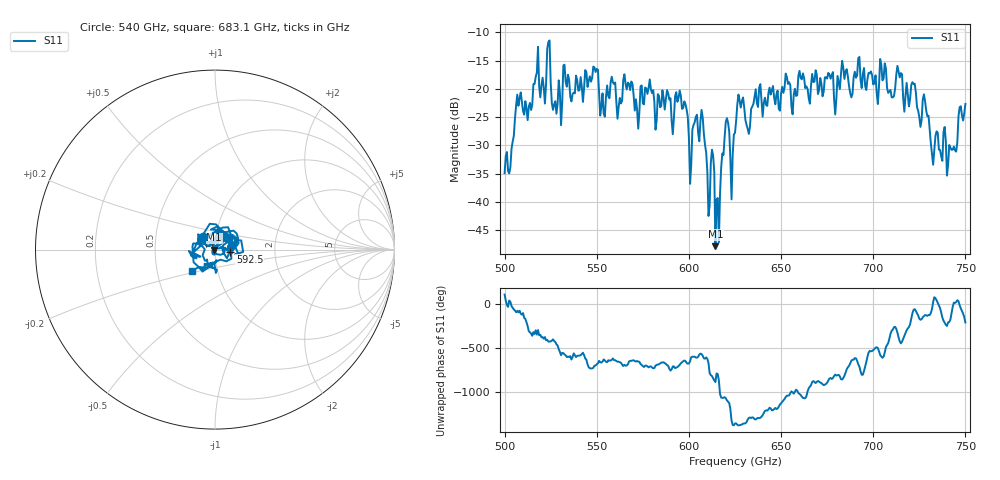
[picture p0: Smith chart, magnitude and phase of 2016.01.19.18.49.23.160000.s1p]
!Created with skrf (http://scikit-rf.org).
# GHz S RI R 50.0
!freq ReS11 ImS11
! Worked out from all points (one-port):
!   401 points, 500 GHz to 750 GHz, reference 50 ohm
!   lowest |S11| = -47.8 dB at 614.4 GHz (marker M1), VSWR 1.01, Z = 49.6 - j0.102 ohm
!   |S11| at or under -10 dB: start of sweep to end of sweep
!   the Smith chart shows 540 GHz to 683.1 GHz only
!   S11 on the Smith chart (normalised r, x): 540 GHz: 0.87, +0.12; 592.5 GHz: 1.19, -0.03; 683.1 GHz: 0.75, -0.19
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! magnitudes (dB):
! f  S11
! 500 GHz  -34.9
! 507.5 GHz  -23.0
! 513.8 GHz  -22.5
! 516.9 GHz  -17.9
! 531.2 GHz  -22.4
! 540 GHz  -20.3
! 562.5 GHz  -21.6
! 565.6 GHz  -19.1
! 571.9 GHz  -23.7
! 592.5 GHz  -21.3
! 593.8 GHz  -22.3
! 601.2 GHz  -33.4
! 607.5 GHz  -25.1
! 610 GHz  -34.7
! 614.4 GHz  -47.8
! 615.6 GHz  -39.3
! 620.6 GHz  -25.2
! 623.1 GHz  -39.5
! 625 GHz  -27.7
! 628.1 GHz  -23.3
! 631.9 GHz  -27.0
! 637.5 GHz  -23.2
! 656.2 GHz  -24.5
! 683.1 GHz  -15.0
! 687.5 GHz  -20.7
! 718.8 GHz  -20.9
! 741.2 GHz  -29.9
! 750 GHz  -22.7
